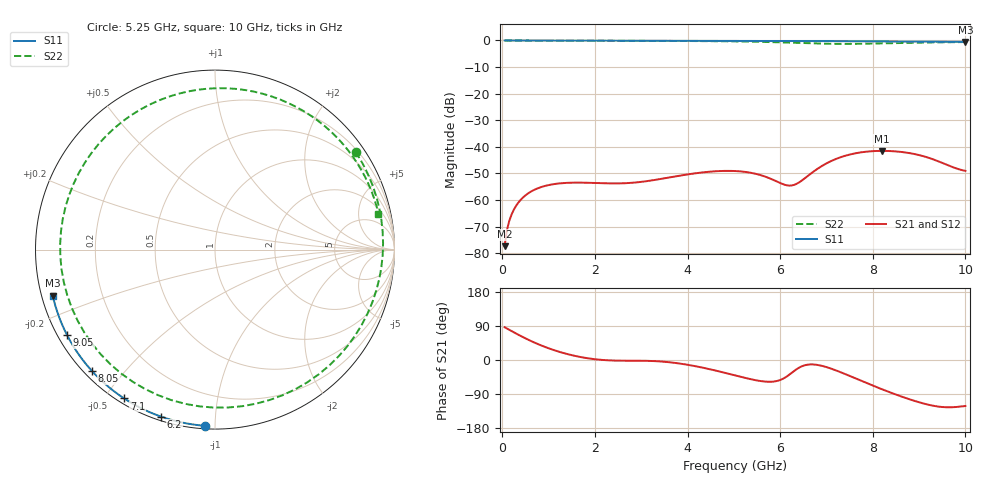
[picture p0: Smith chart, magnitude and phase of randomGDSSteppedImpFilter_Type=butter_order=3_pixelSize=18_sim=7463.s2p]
! freq	dB(S11)	phase(S11)	dB(S12)	phase(S12)
!  dB(S21)	phase(S21)	dB(S22)	phase(S22)
!S-par simulation data
#  GHz  S  DB  R 50
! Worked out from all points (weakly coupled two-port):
!   200 points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, 50 MHz to 10 GHz, reference 50 ohm
!   highest |S21| = -41.52 dB at 8.2 GHz (marker M1); lowest = -77.4 dB at 50 MHz (marker M2)
!   lowest |S11| = -0.5 dB at 10 GHz (marker M3), VSWR 32.15, Z = 1.59 - j6.96 ohm
!   |S11| at or under -10 dB: nowhere
!   |S22| runs from -1.3 to 0.0 dB; largest |S21 - S12| = 0
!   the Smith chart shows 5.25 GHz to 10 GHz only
!   S11 on the Smith chart (normalised r, x): 5.25 GHz: 0.02, -0.95; 6.2 GHz: 0.02, -0.73; 7.1 GHz: 0.02, -0.56; 8.05 GHz: 0.02, -0.41; 9.05 GHz: 0.03, -0.27; 10 GHz: 0.03, -0.14
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0.05  -0.00 -1.0  -77.35 86.4  -77.35 86.4  -0.00 -6.0
0.15  -0.00 -2.9  -67.88 79.7  -67.88 79.7  -0.02 -17.9
0.25  -0.01 -4.8  -63.60 73.0  -63.60 73.0  -0.04 -29.4
0.5  -0.01 -9.6  -58.24 57.1  -58.24 57.1  -0.08 -56.8
0.75  -0.02 -14.3  -55.70 43.0  -55.70 43.0  -0.09 -81.3
1.25  -0.03 -23.8  -53.73 20.9  -53.73 20.9  -0.11 -121.2
1.75  -0.04 -33.1  -53.47 6.5  -53.47 6.5  -0.12 -152.1
2.5  -0.06 -46.7  -53.76 -1.7  -53.76 -1.7  -0.13 170.8
3.4  -0.08 -62.6  -52.14 -3.7  -52.14 -3.7  -0.17 131.1
4.3  -0.11 -77.8  -49.66 -19.5  -49.66 -19.5  -0.24 89.3
5.05  -0.14 -89.9  -49.12 -41.3  -49.12 -41.3  -0.36 47.6
5.25  -0.15 -93.1  -49.44 -47.4  -49.44 -47.4  -0.41 34.8
5.75  -0.17 -101.0  -51.68 -57.5  -51.68 -57.5  -0.59 -1.8
6.2  -0.19 -107.9  -54.58 -38.5  -54.58 -38.5  -0.82 -40.8
6.7  -0.22 -115.4  -49.57 -11.7  -49.57 -11.7  -1.11 -90.5
7.1  -0.25 -121.4  -45.35 -22.7  -45.35 -22.7  -1.26 -132.3
7.55  -0.29 -128.0  -42.70 -44.5  -42.70 -44.5  -1.28 -177.4
8.05  -0.33 -135.4  -41.58 -70.0  -41.58 -70.0  -1.16 138.0
8.2  -0.34 -137.6  -41.52 -77.3  -41.52 -77.3  -1.10 125.9
8.35  -0.36 -139.8  -41.57 -84.4  -41.57 -84.4  -1.05 114.3
9.05  -0.43 -150.0  -43.32 -113.3  -43.32 -113.3  -0.80 66.3
10  -0.54 -164.1  -49.03 -121.4  -49.03 -121.4  -0.61 12.4
